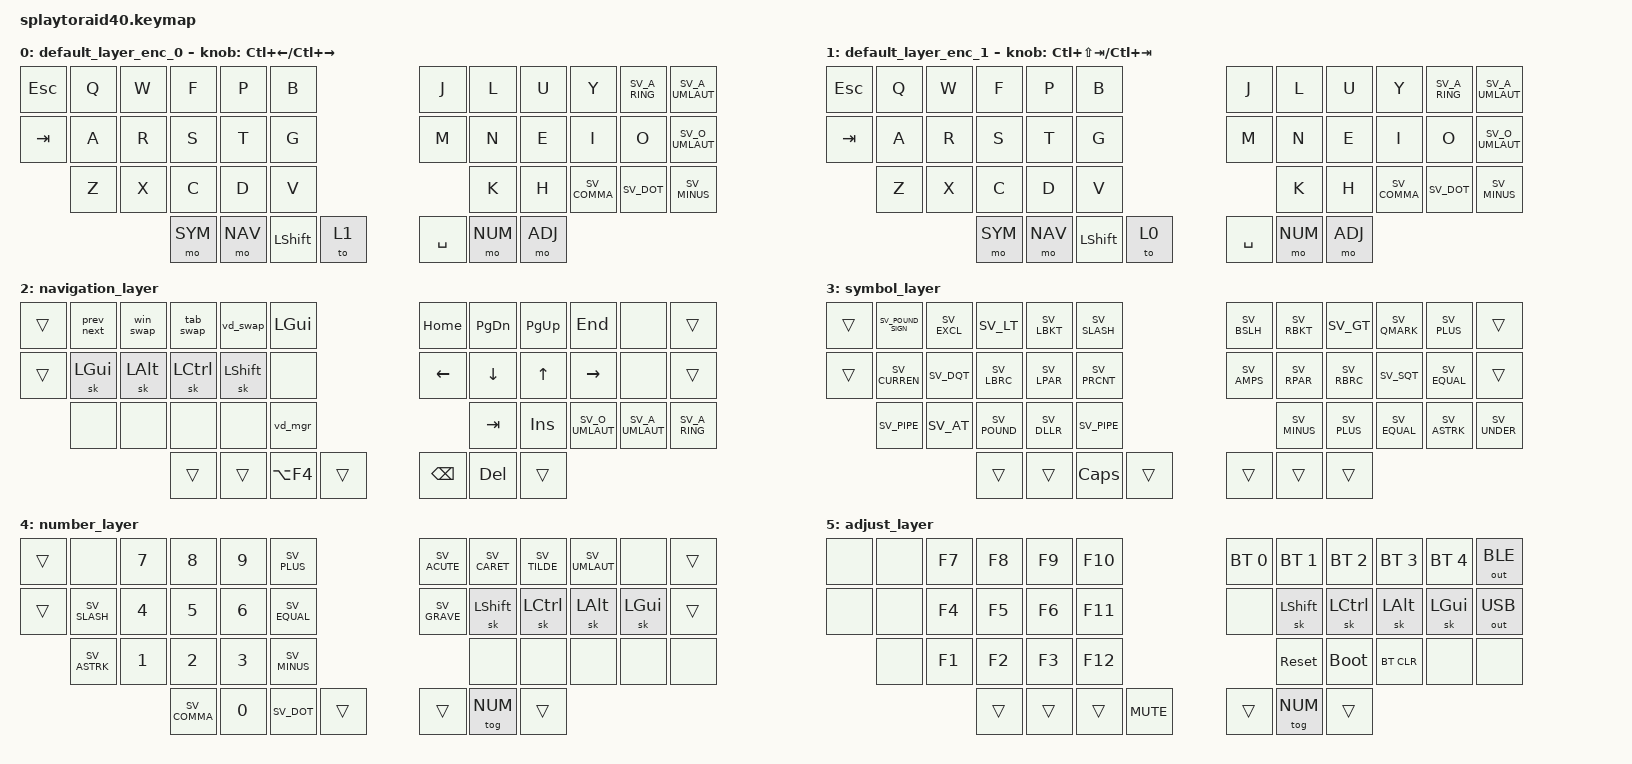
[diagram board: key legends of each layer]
/*
 * Copyright (c) 2021 The ZMK Contributors
 *
 * SPDX-License-Identifier: MIT
 */

#include <behaviors.dtsi>
#include <dt-bindings/zmk/keys.h>
#include <dt-bindings/zmk/bt.h>
#include <dt-bindings/zmk/rgb.h>
#include <dt-bindings/zmk/outputs.h>
#include "keys_sv.h"

#define NAV 2
#define SYM 3
#define NUM 4
#define ADJ 5

// Keycode defines
#define VD_NEW          LC(LG(D))
#define VD_LEFT         LC(LG(LEFT))
#define VD_RIGHT        LC(LG(RIGHT))
#define VD_CLOSE        LC(LG(F4))

&mt     {
        retro-tap;
         };

&sk     {
        release-after-ms = <2000>;
        quick-release;
         };

&sl     {
         release-after-ms = <150>;
         };

/ {
        combos {
                compatible = "zmk,combos";
                combo_bksp {
                        timeout-ms = <30>;
                        key-positions = <19 20>;
                        bindings = <&kp BACKSPACE>;
                };
                combo_backwards_del {
                        timeout-ms = <45>;
                        key-positions = <19 20 21>;
                        bindings = <&kp LC(BACKSPACE)>;
                };
                combo_backwards_del_term {
                        timeout-ms = <45>;
                        key-positions = <7 8 9>;
                        bindings = <&kp LA(BACKSPACE)>;
                };
                combo_capslock {
                        timeout-ms = <50>;
                        key-positions = <16 19>;
                        bindings = <&kp CAPSLOCK>;
                };
                combo_tab {
                        timeout-ms = <25>;
                        key-positions = <15 16>;
                        bindings = <&kp TAB>;
                };
                combo_return {
                        timeout-ms = <50>;
                        key-positions = <21 22>;
                        bindings = <&kp RET>;
                };
                combo_esc {
                        timeout-ms = <50>;
                        key-positions = <13 14>;
                        bindings = <&kp ESC>;
                };
        };


        behaviors {
                win_swap: win_swapper {
                        compatible = "zmk,behavior-tri-state";
                        #binding-cells = <0>;
                        bindings = <&kt LALT>, <&kp TAB>, <&kt LALT>;
                        ignored-key-positions = <16 19>;
                };

                tab_swap: tab_swapper {
                        compatible = "zmk,behavior-tri-state";
                        #binding-cells = <0>;
                        bindings = <&kt LCTRL>, <&kp TAB>, <&kt LCTRL>;
                        ignored-key-positions = <16 19>;
                };

                vd_swap: vd_swapper {
                        compatible = "zmk,behavior-mod-morph";
                        #binding-cells = <0>;
                        bindings = <&kp LC(LG(RIGHT))>, <&kp LC(LG(LEFT))>;
                        mods = <(MOD_LSFT)>;
                };

                vd_mgr: vd_manager {
                        compatible = "zmk,behavior-mod-morph";
                        #binding-cells = <0>;
                        bindings = <&kp LC(LG(SV_D))>, <&kp LC(LG(F4))>;
                        mods = <(MOD_LSFT)>;
                };

                prev_next: previous_next {
                        compatible = "zmk,behavior-mod-morph";
                        #binding-cells = <0>;
                        bindings = <&kp LA(LEFT)>, <&kp LA(RIGHT)>;
                        mods = <(MOD_LSFT)>;
                };
        };


//          -----------------------------------------               -----------------------------------------
// ---------|   1   |   2   |   3   |   4   |   5   |     split     |   6   |   7   |   8   |   9  |   10  |---------
// |   0    |----------------------------------------               ----------------------------------------|   11   |
// ---------|   13  |   14  |   15  |   16  |   17  |     split     |   18  |   19  |   20  |   21  |   22  |---------
// |   12   |----------------------------------------               ----------------------------------------|   23   |
// ---------|   24  |   25  |   26  |   27  |   28  |     split     |   29  |   30  |   31  |   32  |   33  |---------
//          -------------------------------------------------------------------------------------------------
//                          |   34  |   35  |   36  |       37      |   38  |   39  |   40  |
//                          -----------------------------------------------------------------

        keymap {
                compatible = "zmk,keymap";

                default_layer_enc_0 {
//          -----------------------------------------               -----------------------------------------
// ---------|   Q   |   W   |   E   |   R   |   T   |     split     |   Y   |   U   |   I   |   O   |   P   |---------
// |  ESC   |----------------------------------------               ----------------------------------------|  BSPC  |
// ---------|   A   |   S   |   D   |   F   |   G   |     split     |   H   |   J   |   K   |   L   |   '   |---------
// |  CTRL  |----------------------------------------               ----------------------------------------|   RET  |
// ---------|   Z   |   X   |   C   |   D   |   V   |     split     |   K   |   H   |   ,   |   .   |   -   |---------
//          -------------------------------------------------------------------------------------------------
//                          |  LGUI | LOWER | LSHFT |    ENC FCN    | RAISE |  SPC  | ADJUST|
//                          -----------------------------------------------------------------
      bindings = <
    &kp ESC &kp Q   &kp W   &kp F   &kp P   &kp B     /*split*/    &kp J   &kp L   &kp U   &kp Y   &kp SV_A_RING    &kp SV_A_UMLAUT
    &kp TAB &kp A   &kp R   &kp S   &kp T   &kp G     /*split*/    &kp M   &kp N   &kp E   &kp I   &kp O            &kp SV_O_UMLAUT
            &kp Z   &kp X   &kp C   &kp D   &kp V     /*split*/    &kp K   &kp H   &kp SV_COMMA &kp SV_DOT &kp SV_MINUS
                            &mo SYM &mo NAV &kp LSHFT &to 1        &kp SPACE &mo NUM &mo ADJ

                        >;
                sensor-bindings = <&inc_dec_kp LC(LEFT) LC(RIGHT)>;
                };

                // Setup multiple "default layers" with different encoder bindings and toggle using encoder button
                default_layer_enc_1 {
      bindings = <
    &kp ESC &kp Q   &kp W   &kp F   &kp P   &kp B     /*split*/    &kp J   &kp L   &kp U   &kp Y   &kp SV_A_RING    &kp SV_A_UMLAUT
    &kp TAB &kp A   &kp R   &kp S   &kp T   &kp G     /*split*/    &kp M   &kp N   &kp E   &kp I   &kp O            &kp SV_O_UMLAUT
            &kp Z   &kp X   &kp C   &kp D   &kp V     /*split*/    &kp K   &kp H   &kp SV_COMMA &kp SV_DOT &kp SV_MINUS
                            &mo SYM &mo NAV &kp LSHFT &to 0        &kp SPACE &mo NUM &mo ADJ

                        >;
                sensor-bindings = <&inc_dec_kp LC(LS(TAB)) LC(TAB)>;
                };

                navigation_layer {
//          -----------------------------------------               -----------------------------------------
// ---------|  BACK | WinSwp| TabSwp| VDSwp |  LGUI |     split     |  HOME | PG DN | PG UP |  END  |       |---------
// |  ESC   |----------------------------------------               ----------------------------------------|  BSPC  |
// ---------|  LGUI |  LALT | LCTRL | LSHFT |       |     split     |  LEFT |  DOWN |   UP  | RIGHT |       |---------
// |  CTRL  |----------------------------------------               ----------------------------------------|   RET  |
// ---------|       |       |       |       | VDMgr |     split     |  TAB  |  INS  |   Ö   |   Ä   |   Å   |---------
//          -----------------------------------------               -----------------------------------------
//                          |       |       | A(F4) |     split     |  BSPC |  DEL  |       |
//                          -------------------------               -------------------------
      bindings = <
    &trans  &prev_next  &win_swap   &tab_swap   &vd_swap    &kp LGUI     /*split*/   &kp HOME   &kp PG_DN   &kp PG_UP   &kp END     &none       &trans
    &trans  &sk LGUI    &sk LALT    &sk LCTRL   &sk LSHFT   &none        /*split*/   &kp LEFT   &kp DOWN    &kp UP      &kp RIGHT   &none       &trans
            &none       &none       &none       &none       &vd_mgr      /*split*/   &kp TAB    &kp INS     &kp SV_O_UMLAUT &kp SV_A_UMLAUT &kp SV_A_RING
                                    &trans      &trans      &kp LA(F4)   &trans      &kp BSPC   &kp DEL     &trans

                        >;

                };

                symbol_layer {
//          -----------------------------------------               -----------------------------------------
// ---------|   £   |   !   |   <   |   [   |   /   |     split     |   \   |   ]   |   >   |   ?   |   +   |---------
// |  ESC   |----------------------------------------               ----------------------------------------|  BSPC  |
// ---------|   ¤   |   "   |   {   |   (   |   %   |     split     |   &   |   )   |   }   |   '   |   =   |---------
// |  CTRL  |----------------------------------------               ----------------------------------------|   RET  |
// ---------|   |   |   @   |   £   |   $   |   |   |     split     |   -   |   +   |   =   |   *   |   _   |---------
//          -------------------------------------------------------------------------------------------------
//                          |       |       |  CAPS |    ENC MUTE   |       |       |       |
//                          -----------------------------------------------------------------
      bindings = <
 &trans &kp SV_POUND_SIGN &kp SV_EXCL   &kp SV_LT     &kp SV_LBKT   &kp SV_SLASH  /*split*/   &kp SV_BSLH   &kp SV_RBKT   &kp SV_GT     &kp SV_QMARK  &kp SV_PLUS   &trans
    &trans  &kp SV_CURREN &kp SV_DQT    &kp SV_LBRC   &kp SV_LPAR   &kp SV_PRCNT  /*split*/   &kp SV_AMPS   &kp SV_RPAR   &kp SV_RBRC   &kp SV_SQT    &kp SV_EQUAL  &trans
            &kp SV_PIPE   &kp SV_AT     &kp SV_POUND  &kp SV_DLLR   &kp SV_PIPE   /*split*/   &kp SV_MINUS  &kp SV_PLUS   &kp SV_EQUAL  &kp SV_ASTRK  &kp SV_UNDER
                                        &trans        &trans        &kp CAPS      &trans      &trans        &trans        &trans

                        >;

                };

                number_layer {
//          -----------------------------------------               -----------------------------------------
// ---------|       |   7   |   8   |   9   |   +   |     split     |   ´   |   ^   |   ~   |   ¨   |       |---------
// |  ESC   |----------------------------------------               ----------------------------------------|  BSPC  |
// ---------|   /   |   4   |   5   |   6   |   =   |     split     |   `   | LSHFT | LCTRL |  LALT |  LGUI |---------
// |  CTRL  |----------------------------------------               ----------------------------------------|   RET  |
// ---------|   *   |   1   |   2   |   3   |   -   |     split     |  F6   |       |       |       |       |---------
//          -----------------------------------------               -----------------------------------------
//                          |   ,   |   0   |   .   |     split     |       |  NUM  |       |
//                          -------------------------               -------------------------
      bindings = <
    &trans  &none        &kp N7    &kp N8    &kp N9   &kp SV_PLUS  /*split*/ &kp SV_ACUTE &kp SV_CARET &kp SV_TILDE &kp SV_UMLAUT &none        &trans
    &trans  &kp SV_SLASH &kp N4    &kp N5    &kp N6   &kp SV_EQUAL /*split*/ &kp SV_GRAVE &sk LSHFT    &sk LCTRL    &sk LALT      &sk LGUI     &trans
            &kp SV_ASTRK &kp N1    &kp N2    &kp N3   &kp SV_MINUS /*split*/ &none        &none        &none        &none         &none
                                &kp SV_COMMA &kp N0   &kp SV_DOT    &trans   &trans       &tog NUM     &trans

                        >;

                };

                adjust_layer {
//          -----------------------------------------               -----------------------------------------
// ---------|       |   F7  |   F8  |   F9  |  F10  |     split     |  BT1  |  BT2  |  BT3  |  BT4  |  BT5  |---------
// |        |----------------------------------------               ----------------------------------------| O BLE  |
// ---------|       |   F4  |   F5  |   F6  |  F11  |     split     |       | LSHFT | LCTRL |  LALT |  LGUI |---------
// |        |----------------------------------------               ----------------------------------------| O USB  |
// ---------|       |   F1  |   F2  |   F3  |  F12  |     split     | RESET |  BOOT | BT CLR|       |       |---------
//          -----------------------------------------               -----------------------------------------
//                          |       |       |       |     split     |       |       |       |
//                          -------------------------               -------------------------
      bindings = <
    &none   &none   &kp F7  &kp F8  &kp F9  &kp F10 /*split*/   &bt BT_SEL 0 &bt BT_SEL 1 &bt BT_SEL 2 &bt BT_SEL 3 &bt BT_SEL 4  &out OUT_BLE
    &none   &none   &kp F4  &kp F5  &kp F6  &kp F11 /*split*/   &none        &sk LSHFT    &sk LCTRL    &sk LALT     &sk LGUI      &out OUT_USB
            &none   &kp F1  &kp F2  &kp F3  &kp F12 /*split*/   &sys_reset   &bootloader  &bt BT_CLR   &none        &none
                            &trans  &trans  &trans &kp C_MUTE   &trans       &tog NUM     &trans
                        >;

                };
        };
};
